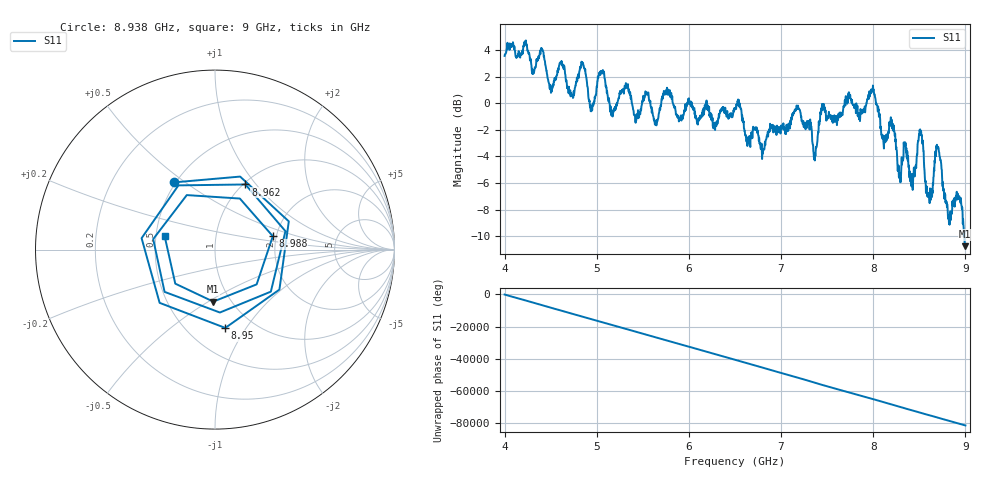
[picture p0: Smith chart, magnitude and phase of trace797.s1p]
! Created with skrf 1.8.0 (http://scikit-rf.org).
# Hz S RI R 50.0
!freq ReS11 ImS11
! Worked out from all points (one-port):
!   1601 points, 4 GHz to 9 GHz, reference 50 ohm
!   lowest |S11| = -10.8 dB at 8.994 GHz (marker M1), VSWR 1.82, Z = 41.5 - j26.3 ohm
!   |S11| at or under -10 dB: 8.989494 GHz to end of sweep
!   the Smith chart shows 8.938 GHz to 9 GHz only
!   S11 on the Smith chart (normalised r, x): 8.938 GHz: 0.49, +0.45; 8.95 GHz: 0.75, -0.81; 8.962 GHz: 1.02, +0.88; 8.988 GHz: 1.92, +0.32; 9 GHz: 0.56, +0.09
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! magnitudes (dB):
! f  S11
! 4 GHz  3.6
! 4.625 GHz  2.8
! 4.728 GHz  0.6
! 4.853 GHz  3.0
! 4.944 GHz  -0.6
! 5.05 GHz  2.4
! 5.25 GHz  0.7
! 5.875 GHz  -1.1
! 6.5 GHz  -0.4
! 6.797 GHz  -3.8
! 7.125 GHz  -0.9
! 7.366 GHz  -4.3
! 7.45 GHz  -0.1
! 7.75 GHz  0.6
! 7.994 GHz  0.9
! 8.281 GHz  -5.6
! 8.375 GHz  -4.3
! 8.428 GHz  -6.5
! 8.512 GHz  -2.3
! 8.597 GHz  -6.7
! 8.697 GHz  -3.2
! 8.822 GHz  -9.1
! 8.938 GHz  -7.1
! 8.95 GHz  -7.1
! 8.962 GHz  -7.9
! 8.988 GHz  -9.6
! 8.994 GHz  -10.8
! 9 GHz  -10.7
